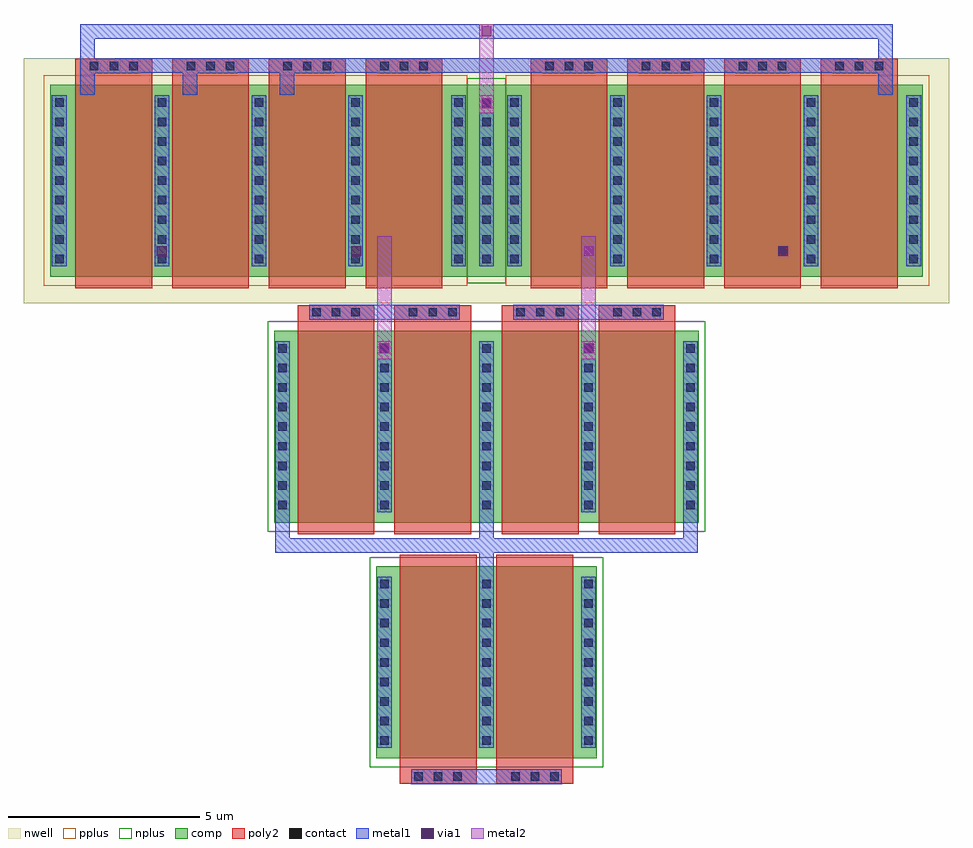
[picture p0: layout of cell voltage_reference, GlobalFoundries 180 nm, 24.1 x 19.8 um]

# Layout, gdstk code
from math import pi, radians
import gdstk
lib = gdstk.Library(unit=1e-6, precision=5e-09)
def R(c, l, rs):  # rectangles x0, y0, x1, y1
    for r in rs: c.add(gdstk.rectangle(r[:2], r[2:], *l))
def A(c, l, x, y, w, h, nx, ny, dx, dy):  # array of equal rectangles
    R(c, l, [(x+i*dx, y+j*dy, x+i*dx+w, y+j*dy+h) for i in range(nx) for j in range(ny)])
nwell = (21, 0)
comp = (22, 0)
poly2 = (30, 0)
pplus = (31, 0)
nplus = (32, 0)
contact = (33, 0)
metal1 = (34, 0)
via1 = (35, 0)
metal2 = (36, 0)

nfet = lib.new_cell('nfet')
R(nfet, comp, [(-0.42,0,0,5), (0,0,4.9,5), (4.9,0,5.32,5)])
R(nfet, poly2, [(0.19,-0.3,2.19,5.3), (2.71,-0.3,4.71,5.3), (0.19,5.3,2.19,5.66), (2.71,5.3,4.71,5.66)])
R(nfet, nplus, [(-0.59,-0.24,5.49,5.24)])
A(nfet, contact, -0.32, 0.35, 0.22, 0.22, 3, 9, 2.66, 0.51)
A(nfet, contact, 0.57, 5.37, 0.22, 0.22, 3, 1, 0.51, 0)
A(nfet, contact, 3.09, 5.37, 0.22, 0.22, 3, 1, 0.51, 0)
A(nfet, metal1, -0.4, 0.27, 0.38, 4.46, 3, 1, 2.66, 0)
R(nfet, metal1, [(0.49,5.29,1.89,5.67), (3.01,5.29,4.41,5.67)])

nfet_1 = lib.new_cell('nfet$1')
R(nfet_1, comp, [(-0.42,0,0,5), (0,0,4.9,5), (4.9,0,5.32,5)])
R(nfet_1, poly2, [(0.19,-0.66,2.19,-0.3), (2.71,-0.66,4.71,-0.3), (0.19,-0.3,2.19,5.3), (2.71,-0.3,4.71,5.3)])
R(nfet_1, nplus, [(-0.59,-0.24,5.49,5.24)])
A(nfet_1, contact, 0.57, -0.59, 0.22, 0.22, 3, 1, 0.51, 0)
A(nfet_1, contact, 3.09, -0.59, 0.22, 0.22, 3, 1, 0.51, 0)
A(nfet_1, contact, -0.32, 0.35, 0.22, 0.22, 3, 9, 2.66, 0.51)
A(nfet_1, metal1, -0.4, 0.27, 0.38, 4.46, 3, 1, 2.66, 0)
R(nfet_1, metal1, [(0.49,-0.67,1.89,-0.29), (3.01,-0.67,4.41,-0.29)])

pfet = lib.new_cell('pfet')
R(pfet, nwell, [(-1.15,-0.69,11.82,5.69)])
R(pfet, comp, [(-0.46,0,0,5), (0,0,9.94,5), (9.94,0,10.4,5), (10.4,0,11.13,5)])
A(pfet, poly2, 0.19, -0.3, 2, 5.6, 4, 1, 2.52, 0)
A(pfet, poly2, 0.19, 5.3, 2, 0.38, 4, 1, 2.52, 0)
R(pfet, pplus, [(-0.63,-0.24,10.4,5.24)])
R(pfet, nplus, [(10.4,-0.17,11.3,5.17)])
A(pfet, contact, -0.34, 0.35, 0.22, 0.22, 1, 9, 0, 0.51)
A(pfet, contact, 2.34, 0.35, 0.22, 0.22, 3, 9, 2.52, 0.51)
A(pfet, contact, 10.06, 0.35, 0.22, 0.22, 1, 9, 0, 0.51)
A(pfet, contact, 10.79, 0.35, 0.22, 0.22, 1, 9, 0, 0.51)
A(pfet, contact, 0.57, 5.38, 0.22, 0.22, 3, 1, 0.51, 0)
A(pfet, contact, 3.09, 5.38, 0.22, 0.22, 3, 1, 0.51, 0)
A(pfet, contact, 5.61, 5.38, 0.22, 0.22, 3, 1, 0.51, 0)
A(pfet, contact, 8.13, 5.38, 0.22, 0.22, 3, 1, 0.51, 0)
A(pfet, metal1, 2.26, 0.27, 0.38, 4.46, 3, 1, 2.52, 0)
A(pfet, metal1, 0.49, 5.3, 1.4, 0.38, 4, 1, 2.52, 0)
R(pfet, metal1, [(-0.42,0.27,-0.04,4.73), (9.98,0.27,10.36,4.73), (10.71,0.27,11.09,4.73)])

pfet_1 = lib.new_cell('pfet$1')
R(pfet_1, nwell, [(-1.15,-0.69,11.82,5.69)])
R(pfet_1, comp, [(-0.46,0,0,5), (0,0,9.94,5), (9.94,0,10.4,5), (10.4,0,11.13,5)])
A(pfet_1, poly2, 0.19, -0.68, 2, 0.38, 4, 1, 2.52, 0)
A(pfet_1, poly2, 0.19, -0.3, 2, 5.6, 4, 1, 2.52, 0)
R(pfet_1, pplus, [(-0.63,-0.24,10.4,5.24)])
R(pfet_1, nplus, [(10.4,-0.17,11.3,5.17)])
A(pfet_1, contact, 0.57, -0.6, 0.22, 0.22, 3, 1, 0.51, 0)
A(pfet_1, contact, 3.09, -0.6, 0.22, 0.22, 3, 1, 0.51, 0)
A(pfet_1, contact, 5.61, -0.6, 0.22, 0.22, 3, 1, 0.51, 0)
A(pfet_1, contact, 8.13, -0.6, 0.22, 0.22, 3, 1, 0.51, 0)
A(pfet_1, contact, -0.34, 0.35, 0.22, 0.22, 1, 9, 0, 0.51)
A(pfet_1, contact, 2.34, 0.35, 0.22, 0.22, 3, 9, 2.52, 0.51)
A(pfet_1, contact, 10.06, 0.35, 0.22, 0.22, 1, 9, 0, 0.51)
A(pfet_1, contact, 10.79, 0.35, 0.22, 0.22, 1, 9, 0, 0.51)
A(pfet_1, metal1, 0.49, -0.68, 1.4, 0.38, 4, 1, 2.52, 0)
A(pfet_1, metal1, 2.26, 0.27, 0.38, 4.46, 3, 1, 2.52, 0)
R(pfet_1, metal1, [(-0.42,0.27,-0.04,4.73), (9.98,0.27,10.36,4.73), (10.71,0.27,11.09,4.73)])

voltage_reference = lib.new_cell('voltage_reference')
R(voltage_reference, metal1, [(5.275,0.18,9.195,0.56), (2.615,12.28,6.535,12.66), (7.935,12.28,11.855,12.66), (-2.445,18.71,16.915,19.09)])
R(voltage_reference, via1, [(4.445,11.4,4.705,11.66), (9.77,11.4,10.03,11.66), (-1.35,13.925,-1.09,14.185), (3.715,13.925,3.975,14.185), (9.77,13.935,10.03,14.195), (14.835,13.935,15.095,14.195), (7.105,17.78,7.365,18.04), (7.105,19.66,7.365,19.92)])
R(voltage_reference, metal2, [(4.385,11.25,4.765,14.455), (9.705,11.25,10.085,14.455), (7.045,17.66,7.425,19.98)])
voltage_reference.add(gdstk.FlexPath([(1.915,7.26),(1.915,6.395),(12.555,6.395),(12.555,7.26)], 0.38, ends="flush", simple_path=True, layer=34, datatype=0))  # metal1
voltage_reference.add(gdstk.FlexPath([(7.235,7.26),(7.235,6.585)], 0.38, ends="flush", simple_path=True, layer=34, datatype=0))  # metal1
voltage_reference.add(gdstk.FlexPath([(7.235,5.58),(7.235,6.205)], 0.38, ends="flush", simple_path=True, layer=34, datatype=0))  # metal1
voltage_reference.add(gdstk.FlexPath([(-0.485,18.14),(-0.485,18.71)], 0.38, ends="flush", simple_path=True, layer=34, datatype=0))  # metal1
voltage_reference.add(gdstk.FlexPath([(2.035,18.14),(2.035,18.71)], 0.38, ends="flush", simple_path=True, layer=34, datatype=0))  # metal1
voltage_reference.add(gdstk.FlexPath([(-3.165,18.14),(-3.165,19.79),(17.635,19.79),(17.635,18.14)], 0.38, ends="flush", simple_path=True, layer=34, datatype=0))  # metal1
voltage_reference.add(gdstk.Reference(nfet, (2.125,6.99)))
voltage_reference.add(gdstk.Reference(nfet, (7.445,6.99)))
voltage_reference.add(gdstk.Reference(nfet_1, (4.785,0.85)))
voltage_reference.add(gdstk.Reference(pfet, (-3.665,13.4)))
voltage_reference.add(gdstk.Reference(pfet_1, (18.135,18.4), rotation=pi))

lib.write_gds('voltage_reference.gds')
